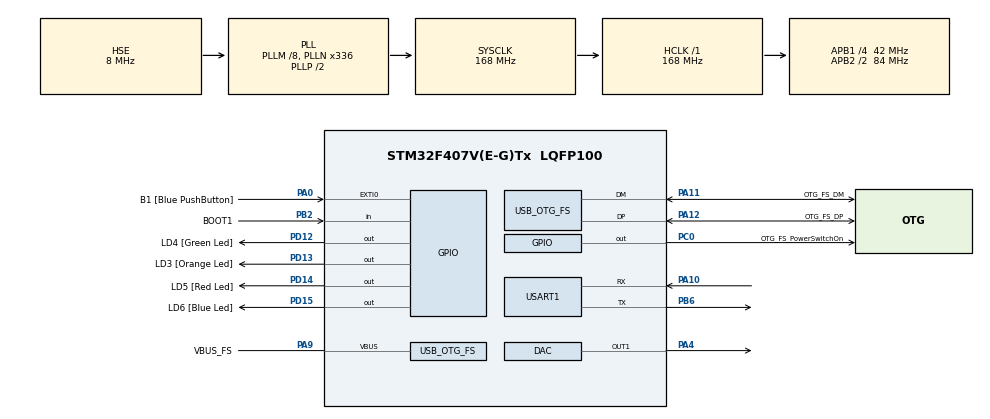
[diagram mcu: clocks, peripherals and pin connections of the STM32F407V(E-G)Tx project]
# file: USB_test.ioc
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Dma.Request0=USART1_RX
Dma.Request1=USART1_TX
Dma.USART1_RX.0.Direction=DMA_PERIPH_TO_MEMORY
Dma.USART1_RX.0.FIFOMode=DMA_FIFOMODE_DISABLE
Dma.USART1_RX.0.Instance=DMA2_Stream2
Dma.USART1_RX.0.MemDataAlignment=DMA_MDATAALIGN_BYTE
Dma.USART1_RX.0.MemInc=DMA_MINC_ENABLE
Dma.USART1_RX.0.Mode=DMA_NORMAL
Dma.USART1_RX.0.PeriphDataAlignment=DMA_PDATAALIGN_BYTE
Dma.USART1_RX.0.PeriphInc=DMA_PINC_DISABLE
Dma.USART1_RX.0.Priority=DMA_PRIORITY_LOW
Dma.USART1_TX.1.Direction=DMA_MEMORY_TO_PERIPH
Dma.USART1_TX.1.FIFOMode=DMA_FIFOMODE_DISABLE
Dma.USART1_TX.1.Instance=DMA2_Stream7
Dma.USART1_TX.1.MemDataAlignment=DMA_MDATAALIGN_BYTE
Dma.USART1_TX.1.MemInc=DMA_MINC_ENABLE
Dma.USART1_TX.1.Mode=DMA_NORMAL
Dma.USART1_TX.1.PeriphDataAlignment=DMA_PDATAALIGN_BYTE
Dma.USART1_TX.1.PeriphInc=DMA_PINC_DISABLE
Dma.USART1_TX.1.Priority=DMA_PRIORITY_LOW
Mcu.Family=STM32F4
Mcu.Name=STM32F407V(E-G)Tx
Mcu.Package=LQFP100
NVIC.DMA2_Stream2_IRQn=true\:0\:0\:false\:false\:true\:false\:true
NVIC.DMA2_Stream7_IRQn=true\:0\:0\:false\:false\:true\:false\:true
NVIC.OTG_FS_IRQn=true\:0\:0\:false\:false\:true\:true\:true
NVIC.PriorityGroup=NVIC_PRIORITYGROUP_0
PA0-WKUP.GPIO_Label=B1 [Blue PushButton]
PA0-WKUP.GPIO_ModeDefaultEXTI=GPIO_MODE_EVT_RISING
PA0-WKUP.GPIO_PuPd=GPIO_NOPULL
PA0-WKUP.Signal=GPXTI0
PA10.Mode=Asynchronous
PA10.Signal=USART1_RX
PA11.GPIO_Label=OTG_FS_DM
PA11.GPIO_Mode=GPIO_MODE_AF_PP
PA11.GPIO_PuPd=GPIO_NOPULL
PA11.GPIO_Speed=GPIO_SPEED_FREQ_LOW
PA11.Mode=Device_Only
PA11.Signal=USB_OTG_FS_DM
PA12.GPIO_Label=OTG_FS_DP
PA12.GPIO_Mode=GPIO_MODE_AF_PP
PA12.GPIO_PuPd=GPIO_NOPULL
PA12.GPIO_Speed=GPIO_SPEED_FREQ_LOW
PA12.Mode=Device_Only
PA12.Signal=USB_OTG_FS_DP
PA13.GPIO_Label=SWDIO
PA13.Mode=Serial_Wire
PA13.Signal=SYS_JTMS-SWDIO
PA14.GPIO_Label=SWCLK
PA14.Mode=Serial_Wire
PA14.Signal=SYS_JTCK-SWCLK
PA4.Signal=COMP_DAC1_group
PA9.GPIO_Label=VBUS_FS
PA9.GPIO_Mode=GPIO_MODE_INPUT
PA9.GPIO_PuPd=GPIO_NOPULL
PA9.Mode=Activate_VBUS
PA9.Signal=USB_OTG_FS_VBUS
PB2.GPIO_Label=BOOT1
PB2.GPIO_Mode=GPIO_MODE_INPUT
PB2.GPIO_PuPd=GPIO_NOPULL
PB2.Signal=GPIO_Input
PB6.Mode=Asynchronous
PB6.Signal=USART1_TX
PC0.GPIO_Label=OTG_FS_PowerSwitchOn
PC0.GPIO_PuPd=GPIO_NOPULL
PC0.GPIO_Speed=GPIO_SPEED_FREQ_LOW
PC0.PinState=GPIO_PIN_SET
PC0.Signal=GPIO_Output
PC14-OSC32_IN.GPIO_Label=PC14-OSC32_IN
PC14-OSC32_IN.Mode=LSE-External-Oscillator
PC14-OSC32_IN.Signal=RCC_OSC32_IN
PC15-OSC32_OUT.GPIO_Label=PC15-OSC32_OUT
PC15-OSC32_OUT.Mode=LSE-External-Oscillator
PC15-OSC32_OUT.Signal=RCC_OSC32_OUT
PD12.GPIO_Label=LD4 [Green Led]
PD12.GPIO_PuPd=GPIO_NOPULL
PD12.GPIO_Speed=GPIO_SPEED_FREQ_LOW
PD12.Signal=GPIO_Output
PD13.GPIO_Label=LD3 [Orange Led]
PD13.GPIO_PuPd=GPIO_NOPULL
PD13.GPIO_Speed=GPIO_SPEED_FREQ_LOW
PD13.Signal=GPIO_Output
PD14.GPIO_Label=LD5 [Red Led]
PD14.GPIO_PuPd=GPIO_NOPULL
PD14.GPIO_Speed=GPIO_SPEED_FREQ_LOW
PD14.Signal=GPIO_Output
PD15.GPIO_Label=LD6 [Blue Led]
PD15.GPIO_PuPd=GPIO_NOPULL
PD15.GPIO_Speed=GPIO_SPEED_FREQ_LOW
PD15.Signal=GPIO_Output
PH0-OSC_IN.GPIO_Label=PH0-OSC_IN
PH0-OSC_IN.Mode=HSE-External-Oscillator
PH0-OSC_IN.Signal=RCC_OSC_IN
PH1-OSC_OUT.GPIO_Label=PH1-OSC_OUT
PH1-OSC_OUT.Mode=HSE-External-Oscillator
PH1-OSC_OUT.Signal=RCC_OSC_OUT
ProjectManager.HeapSize=0x200
ProjectManager.StackSize=0x400
ProjectManager.TargetToolchain=STM32CubeIDE
RCC.48MHZClocksFreq_Value=48000000
RCC.AHBFreq_Value=168000000
RCC.APB1CLKDivider=RCC_HCLK_DIV4
RCC.APB1Freq_Value=42000000
RCC.APB1TimFreq_Value=84000000
RCC.APB2CLKDivider=RCC_HCLK_DIV2
RCC.APB2Freq_Value=84000000
RCC.APB2TimFreq_Value=168000000
RCC.CortexFreq_Value=168000000
RCC.HCLKFreq_Value=168000000
RCC.HSE_VALUE=8000000
RCC.HSI_VALUE=16000000
RCC.PLLM=8
RCC.PLLN=336
RCC.PLLQ=7
RCC.SYSCLKFreq_VALUE=168000000
RCC.SYSCLKSource=RCC_SYSCLKSOURCE_PLLCLK
RCC.VCOOutputFreq_Value=336000000
SH.COMP_DAC1_group.0=DAC_OUT1,DAC_OUT1
TIM2.Period=1
USART1.VirtualMode=VM_ASYNC
USB_DEVICE.CLASS_NAME_FS=CDC
USB_DEVICE.VirtualMode-CDC_FS=Cdc
USB_DEVICE.VirtualModeFS=Cdc_FS
USB_OTG_FS.VirtualMode=Device_Only
VP_TIM2_VS_ClockSourceINT.Mode=Internal
VP_USB_DEVICE_VS_USB_DEVICE_CDC_FS.Mode=CDC_FS
board=STM32F407G-DISC1

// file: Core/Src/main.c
/* USER CODE BEGIN Header */
/**
  ******************************************************************************
  * @file           : main.c
  * @brief          : Main program body
  ******************************************************************************
  * @attention
  *
  * <h2><center>&copy; Copyright (c) 2021 STMicroelectronics.
  * All rights reserved.</center></h2>
  *
  * This software component is licensed by ST under Ultimate Liberty license
  * SLA0044, the "License"; You may not use this file except in compliance with
  * the License. You may obtain a copy of the License at:
  *                             www.st.com/SLA0044
  *
  ******************************************************************************
  */
/* USER CODE END Header */
#include "main.h"
#include "dac.h"
#include "dma.h"
#include "tim.h"
#include "usart.h"
#include "usb_device.h"
#include "gpio.h"

/* USER CODE BEGIN Includes */
#include "math.h"
#include "usbd_cdc_if.h" // this is needed to transmit a string of characters
/* USER CODE END Includes */

void SystemClock_Config(void);

/* USER CODE BEGIN 0 */
/* Setting up signal generation */
int Res = 4096;				// DAC resolution.
#define Ns 100  			// Number of samples, Adjusting Ns will affect the frequency of the output signal.
uint32_t sine_val[Ns];  	// Buffer for all the sine bits.
double sine_scaled = 0.9; 	// Scale value. Max value = sine_scaled*3.3. Will result in a deformed signal. Giving a max amplitude of 3.24V
int sine_dc_offset = 248; 	// DC off set value (4096Bits/3300mV)*200mV = 248.24Bits. Chec
#define PI 3.1415926		// Definition of PI
int Fsine = 1000; 			// Frequency of ouput sine signal0
int PSC;					// Tim2 Pre Scalar value
uint32_t Fclock = 90000000;	// Tim2 Clock Frequency
int Period = 1;				// Tim2 Period

void get_sineval(void){

	// Fsine = FtimerRTGO/Ns,   Fsine = F(timer trigger ouput)/(number of samples)
	// Vsine(x)=(sine(x*(2PI/ns)+1)*((0xFFF+1)/2), this is an adjusted formula to create a positive sine.

	for(int i=0;i<Ns;i++){
		sine_val[i] = ((sin(i*2*PI/Ns)+1)*((Res)/2)); // Sampling step = 2PI/ns
		sine_val[i] = sine_dc_offset + sine_scaled*sine_val[i];
	}
}

void set_clock(void){
	  // Fsine = FtimerRTGO/Ns,   Fsine = F(timer trigger ouput)/(number of samples)
	  // Adjust PSC and period in order to manipulate frequency.

	  PSC= (Fclock/Ns)/(Fsine*(Period + 1) ) - 1;

	  htim2.Instance = TIM2;
	  htim2.Init.Period = Period; //+1
	  htim2.Init.Prescaler = PSC; //+1 // If this value is < 4 things start to behave funny.
	  if (HAL_TIM_Base_Init(&htim2) != HAL_OK)
	  {
	    Error_Handler();
	  }

}

/* Setting up UART communications*/
#define uartSize 1
uint8_t rx_buff[uartSize];
uint8_t tx_buff[] = {0b00000010};

void HAL_UART_RxCpltCallback(UART_HandleTypeDef *huart){
	HAL_UART_DMAStop(&huart1); // Stop UART

	// Do something

	HAL_UART_Receive_DMA(&huart1, rx_buff, uartSize); // Receive UART
}

void HAL_UART_TxCpltCallback (UART_HandleTypeDef *huart){
	HAL_UART_DMAStop(&huart1); // Stop UART
	int i = 100;
	while(i>0){
		i = i -1;
	}

	HAL_UART_Receive_DMA(&huart1, rx_buff, uartSize); // Receive UART
}
/* USER CODE END 0 */

int main(void)
{

  /* MCU Configuration--------------------------------------------------------*/

  /* Reset of all peripherals, Initializes the Flash interface and the Systick. */
  HAL_Init();

  /* Configure the system clock */
  SystemClock_Config();

  /* Initialize all configured peripherals */
  MX_GPIO_Init();
  MX_DMA_Init();
  MX_USB_DEVICE_Init();
  MX_DAC_Init();
  MX_USART1_UART_Init();
  MX_TIM2_Init();
  /* USER CODE BEGIN 2 */

  char txBuf[8];
  uint8_t count = 1;
  /* USER CODE END 2 */

  /* Infinite loop */
  /* USER CODE BEGIN WHILE */
  while (1)
  {
		sprintf(txBuf, "%u\r\n", count);
		count++;

		if (count>100){
			count = 1;
		}

		CDC_Transmit_FS((uint8_t *) txBuf, strlen(txBuf));
		HAL_Delay(100);
    /* USER CODE END WHILE */

  }
}

void SystemClock_Config(void)
{
  RCC_OscInitTypeDef RCC_OscInitStruct = {0};
  RCC_ClkInitTypeDef RCC_ClkInitStruct = {0};

  /** Configure the main internal regulator output voltage
  */
  __HAL_RCC_PWR_CLK_ENABLE();
  __HAL_PWR_VOLTAGESCALING_CONFIG(PWR_REGULATOR_VOLTAGE_SCALE1);
  /** Initializes the RCC Oscillators according to the specified parameters
  * in the RCC_OscInitTypeDef structure.
  */
  RCC_OscInitStruct.OscillatorType = RCC_OSCILLATORTYPE_HSE;
  RCC_OscInitStruct.HSEState = RCC_HSE_ON;
  RCC_OscInitStruct.PLL.PLLState = RCC_PLL_ON;
  RCC_OscInitStruct.PLL.PLLSource = RCC_PLLSOURCE_HSE;
  RCC_OscInitStruct.PLL.PLLM = 8;
  RCC_OscInitStruct.PLL.PLLN = 336;
  RCC_OscInitStruct.PLL.PLLP = RCC_PLLP_DIV2;
  RCC_OscInitStruct.PLL.PLLQ = 7;
  if (HAL_RCC_OscConfig(&RCC_OscInitStruct) != HAL_OK)
  {
    Error_Handler();
  }
  /** Initializes the CPU, AHB and APB buses clocks
  */
  RCC_ClkInitStruct.ClockType = RCC_CLOCKTYPE_HCLK|RCC_CLOCKTYPE_SYSCLK
                              |RCC_CLOCKTYPE_PCLK1|RCC_CLOCKTYPE_PCLK2;
  RCC_ClkInitStruct.SYSCLKSource = RCC_SYSCLKSOURCE_PLLCLK;
  RCC_ClkInitStruct.AHBCLKDivider = RCC_SYSCLK_DIV1;
  RCC_ClkInitStruct.APB1CLKDivider = RCC_HCLK_DIV4;
  RCC_ClkInitStruct.APB2CLKDivider = RCC_HCLK_DIV2;

  if (HAL_RCC_ClockConfig(&RCC_ClkInitStruct, FLASH_LATENCY_5) != HAL_OK)
  {
    Error_Handler();
  }
}

void Error_Handler(void)
{
  __disable_irq();
  while (1)
  {
  }
}

/************************ (C) COPYRIGHT STMicroelectronics *****END OF FILE****/
